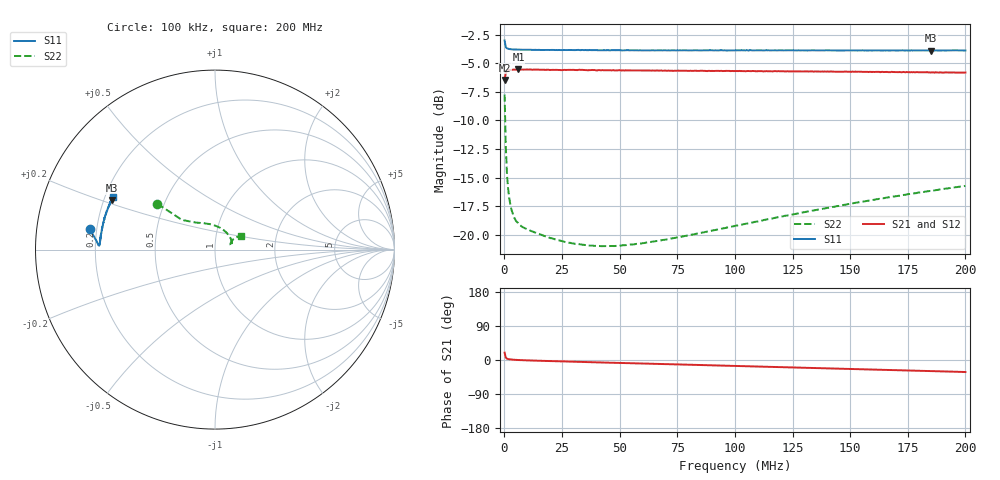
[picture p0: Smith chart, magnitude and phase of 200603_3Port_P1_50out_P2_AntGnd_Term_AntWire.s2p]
# MHz S RI R 50
! S-Parameters data
! Freq  reS11  imS11  reS21  imS21  reS12  imS12  reS22  imS22
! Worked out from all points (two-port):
!   401 points, 100 kHz to 200 MHz, reference 50 ohm
!   highest |S21| = -5.55 dB at 6.097 MHz (marker M1); lowest = -6.5 dB at 100 kHz (marker M2)
!   |S21| within 3 dB of the highest: start of sweep to end of sweep
!   lowest |S11| = -3.9 dB at 185 MHz (marker M3), VSWR 4.52, Z = 11.6 + j10.7 ohm
!   |S11| at or under -10 dB: nowhere
!   |S22| runs from -21.0 to -7.7 dB; largest |S21 - S12| = 0.016
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0.1  -0.6975 0.1138  0.4476 0.1596  0.4442 0.1438  -0.3213 0.2554
0.59975  -0.6592 0.0464  0.5069 0.0579  0.5053 0.0502  -0.1841 0.1654
1.59925  -0.6503 0.0261  0.5216 0.0231  0.5212 0.0144  -0.0633 0.1471
2.099  -0.6479 0.0241  0.5244 0.0177  0.5232 0.00863  -0.0301 0.1422
2.59875  -0.647 0.0229  0.5248 0.0139  0.5244 0.00481  -0.00466 0.1355
3.0985  -0.6454 0.0226  0.5254 0.0105  0.525 0.00177  0.0151 0.1278
3.59825  -0.6457 0.0221  0.5267 0.00841  0.5258 -0.000708  0.0307 0.1203
4.59775  -0.645 0.0226  0.5272 0.00427  0.5266 -0.00488  0.0527 0.1049
6.097  -0.6439 0.0237  0.528 -0.000143  0.527 -0.00938  0.0717 0.086
7.59625  -0.6433 0.0254  0.5279 -0.00332  0.5267 -0.0129  0.0821 0.0715
10.095  -0.6427 0.0288  0.5277 -0.00981  0.5264 -0.0184  0.0906 0.0543
15.59225  -0.641 0.0366  0.5264 -0.0195  0.5255 -0.0283  0.0948 0.0339
25.58725  -0.6402 0.0499  0.524 -0.0343  0.5226 -0.0444  0.0911 0.0221
33.58325  -0.6393 0.0625  0.5239 -0.047  0.5209 -0.0562  0.0882 0.0215
47.0765  -0.6354 0.0825  0.5202 -0.0665  0.5173 -0.0762  0.0856 0.0261
57.0715  -0.633 0.0971  0.5169 -0.0803  0.5133 -0.0903  0.0859 0.0312
67.0665  -0.6304 0.1118  0.5128 -0.0946  0.5105 -0.1044  0.0873 0.0363
100.05  -0.6198 0.1598  0.5007 -0.14  0.4966 -0.1501  0.0966 0.0519
133.5333  -0.6063 0.2064  0.4836 -0.1855  0.4771 -0.1942  0.1106 0.064
167.0165  -0.5877 0.2516  0.4608 -0.2277  0.454 -0.2367  0.1275 0.0715
185.0075  -0.5755 0.2747  0.4467 -0.2502  0.4393 -0.2576  0.137 0.0738
200  -0.5668 0.2951  0.4357 -0.2691  0.4272 -0.2756  0.1456 0.075
